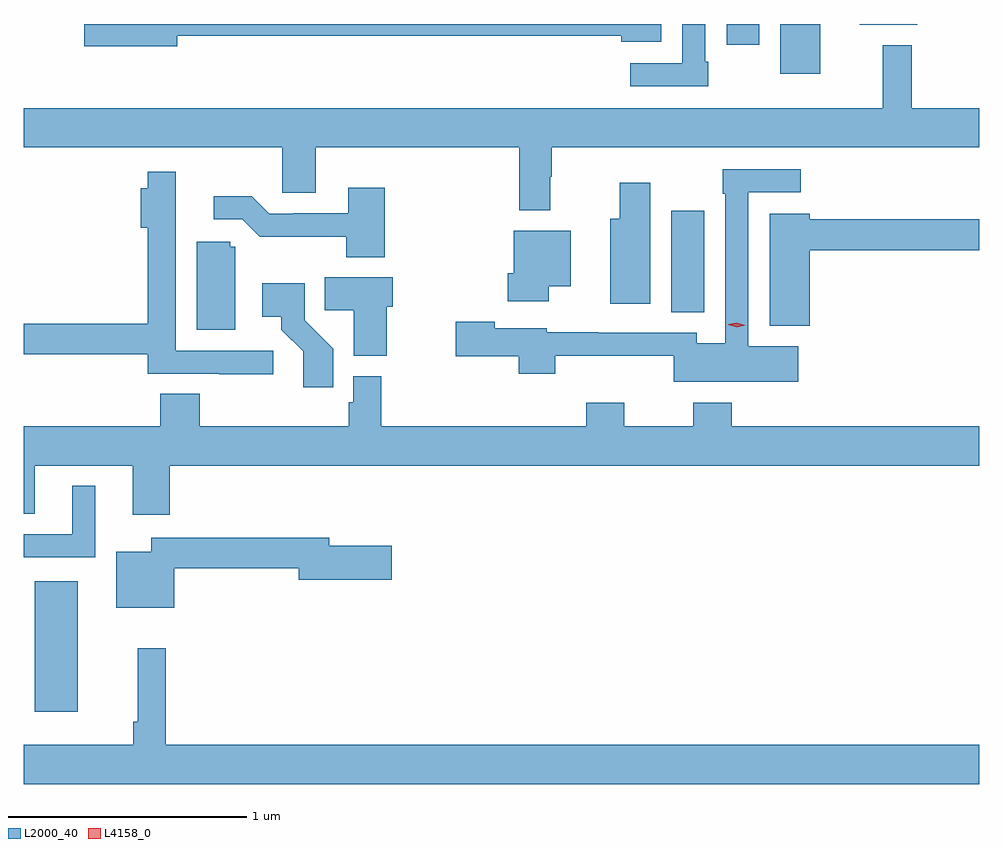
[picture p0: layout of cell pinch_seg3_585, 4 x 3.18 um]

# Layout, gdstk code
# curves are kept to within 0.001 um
import gdstk
lib = gdstk.Library(unit=1e-6, precision=1e-09)
def R(c, l, rs):  # rectangles x0, y0, x1, y1
    for r in rs: c.add(gdstk.rectangle(r[:2], r[2:], *l))
def P(c, l, *ps):  # polygons
    for p in ps: c.add(gdstk.Polygon(p, *l))
L2000_40 = (2000, 40)
L4158_0 = (4158, 0)

pinch_seg3_585 = lib.new_cell('pinch_seg3_585')
R(pinch_seg3_585, L2000_40, [(1065.338,703.883,1065.517,704.428), (1068.002,705.553,1068.139,705.979), (1068.458,706.551,1068.625,706.76), (1068.233,706.674,1068.37,706.76), (1068.791,706.757,1069.03,706.76)])
P(pinch_seg3_585, L2000_40, [(1065.934,706.71),(1067.792,706.71),(1067.792,706.685),(1067.959,706.685),(1067.959,706.76),(1065.546,706.76),(1065.546,706.667),(1065.934,706.667)],
  [(1068.157,706.603),(1068.144,706.603),(1068.144,706.76),(1068.048,706.76),(1068.048,706.596),(1067.829,706.596),(1067.829,706.5),(1068.157,706.5)],
  [(1067.494,706.121),(1067.501,706.121),(1067.501,706.244),(1069.291,706.244),(1069.291,706.408),(1069.007,706.408),(1069.007,706.672),(1068.886,706.672),(1068.886,706.408),(1065.291,706.408),(1065.291,706.244),(1066.374,706.244),(1066.374,706.054),(1066.513,706.054),(1066.513,706.244),(1067.365,706.244),(1067.365,705.981),(1067.494,705.981)],
  [(1068.532,705.412),(1068.324,705.412),(1068.324,706.056),(1068.544,706.056),(1068.544,706.152),(1068.216,706.152),(1068.216,706.049),(1068.228,706.049),(1068.228,705.424),(1068.108,705.424),(1068.108,705.468),(1067.696,705.468),(1067.696,705.47),(1067.481,705.47),(1067.481,705.486),(1067.262,705.486),(1067.262,705.514),(1067.1,705.514),(1067.1,705.37),(1067.363,705.37),(1067.363,705.296),(1067.516,705.296),(1067.516,705.371),(1068.012,705.371),(1068.012,705.263),(1068.532,705.263)],
  [(1066.336,705.393),(1065.927,705.393),(1065.927,705.918),(1065.928,705.918),(1065.928,706.141),(1065.811,706.141),(1065.811,706.072),(1065.782,706.072),(1065.782,705.907),(1065.811,705.907),(1065.811,705.506),(1065.291,705.506),(1065.291,705.378),(1065.811,705.378),(1065.811,705.297),(1066.111,705.297),(1066.111,705.295),(1066.336,705.295)],
  [(1067.914,706.096),(1067.785,706.096),(1067.785,705.946),(1067.747,705.946),(1067.747,705.59),(1067.914,705.59)],
  [(1066.802,706.075),(1066.649,706.075),(1066.649,705.969),(1066.42,705.969),(1066.42,705.966),(1066.32,705.966),(1066.247,706.039),(1066.086,706.039),(1066.086,705.942),(1066.206,705.942),(1066.279,705.869),(1066.642,705.87),(1066.642,705.785),(1066.802,705.785)],
  [(1068.58,705.814),(1069.291,705.814),(1069.291,705.943),(1068.58,705.943),(1068.58,705.967),(1068.413,705.967),(1068.413,705.497),(1068.58,705.497)],
  [(1067.488,705.662),(1067.581,705.662),(1067.581,705.895),(1067.342,705.895),(1067.342,705.717),(1067.318,705.717),(1067.318,705.599),(1067.488,705.599)],
  [(1066.177,705.828),(1066.155,705.828),(1066.155,705.849),(1066.016,705.849),(1066.016,705.48),(1066.177,705.48)],
  [(1066.81,705.576),(1066.835,705.576),(1066.835,705.7),(1066.552,705.7),(1066.552,705.562),(1066.673,705.562),(1066.673,705.371),(1066.81,705.371)],
  [(1066.586,705.402),(1066.467,705.521),(1066.467,705.676),(1066.29,705.676),(1066.29,705.536),(1066.37,705.536),(1066.37,705.481),(1066.461,705.391),(1066.461,705.24),(1066.586,705.24)],
  [(1065.902,704.912),(1069.291,704.912),(1069.291,705.076),(1068.254,705.076),(1068.254,705.175),(1068.094,705.175),(1068.094,705.076),(1067.805,705.076),(1067.805,705.175),(1067.645,705.175),(1067.645,705.076),(1066.787,705.076),(1066.787,705.286),(1066.671,705.286),(1066.671,705.177),(1066.651,705.177),(1066.651,705.076),(1066.028,705.076),(1066.028,705.212),(1065.863,705.212),(1065.863,705.076),(1065.291,705.076),(1065.291,704.71),(1065.337,704.71),(1065.337,704.912),(1065.749,704.912),(1065.749,704.706),(1065.902,704.706)],
  [(1065.592,704.827),(1065.494,704.827),(1065.494,704.625),(1065.291,704.625),(1065.291,704.529),(1065.592,704.529)],
  [(1065.921,704.482),(1066.442,704.482),(1066.442,704.435),(1066.831,704.435),(1066.831,704.577),(1066.57,704.577),(1066.57,704.611),(1065.825,704.611),(1065.825,704.551),(1065.68,704.551),(1065.68,704.318),(1065.921,704.318)],
  [(1069.291,703.744),(1065.887,703.744),(1065.887,704.149),(1065.769,704.149),(1065.769,703.84),(1065.751,703.84),(1065.751,703.744),(1065.291,703.744),(1065.291,703.58),(1069.291,703.58)])
P(pinch_seg3_585, L4158_0, [(1068.275,705.491),(1068.24,705.502),(1068.24,705.502),(1068.24,705.503),(1068.275,705.511),(1068.31,705.5),(1068.31,705.5),(1068.31,705.5)])

lib.write_gds('pinch_seg3_585.gds')
